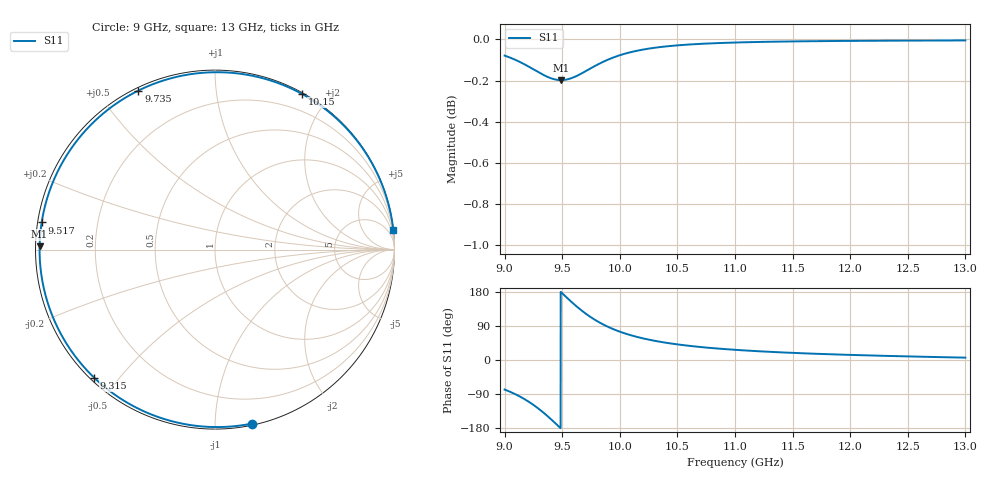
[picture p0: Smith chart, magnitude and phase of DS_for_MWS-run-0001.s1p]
! TOUCHSTONE file generated by CST DESIGN STUDIO
! Date and time: Tue Feb  4 15:48:24 2025
! Project name: C:\Work\MatlabApps\UnitCellOptimizationMatlab\CST\unitcell.cst
! Tree item: Tasks\Sweep1\SPara1\S-Parameters
! Header version: 2024
! Port assignment regex: !\s*Touchstone port\s*([0-9]+)\s*=\s*(CST MWS port|CST DES external port|CST DES block port)\s*(.+)\s* \(\"(.*)\"\)(\s*mode\s*([0-9]+))?.*
! Touchstone port assignment:
! Touchstone port 1 = CST DES external port 1 ("")
# GHz S MA R 50
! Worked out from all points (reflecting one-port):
!   4001 points, 9 GHz to 13 GHz, reference 50 ohm
!   lowest |S11| = -0.2 dB at 9.49 GHz (marker M1), VSWR 87.81, Z = 0.569 + j0.485 ohm
!   phase of S11 starts at -78 deg and turns -276 deg over the sweep
!   S11 on the Smith chart (normalised r, x): 9 GHz: 0.01, -1.24; 9.315 GHz: 0.01, -0.43; 9.517 GHz: 0.01, +0.08; 9.735 GHz: 0.01, +0.63; 10.15 GHz: 0.01, +1.71; 13 GHz: 0, +18
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9  0.991 -78.0
9.08  0.989 -88.4
9.18  0.9859 -104.5
9.25  0.9834 -118.4
9.315  0.9811 -133.3
9.361  0.9796 -145.0
9.41  0.9783 -158.3
9.451  0.9777 -169.9
9.49  0.9775 178.9
9.5  0.9775 176.0
9.517  0.9776 171.1
9.57  0.9783 156.1
9.63  0.9799 140.1
9.682  0.9816 127.4
9.735  0.9835 115.7
9.789  0.9854 105.1
9.849  0.9874 94.8
9.924  0.9894 83.9
10  0.9912 74.8
10.152  0.9937 60.7
10.31  0.9954 50.2
10.5  0.9967 41.2
10.722  0.9976 33.6
11  0.9983 26.9
11.5  0.9989 18.8
12  0.9992 13.5
12.5  0.9993 9.5
13  0.9994 6.2
